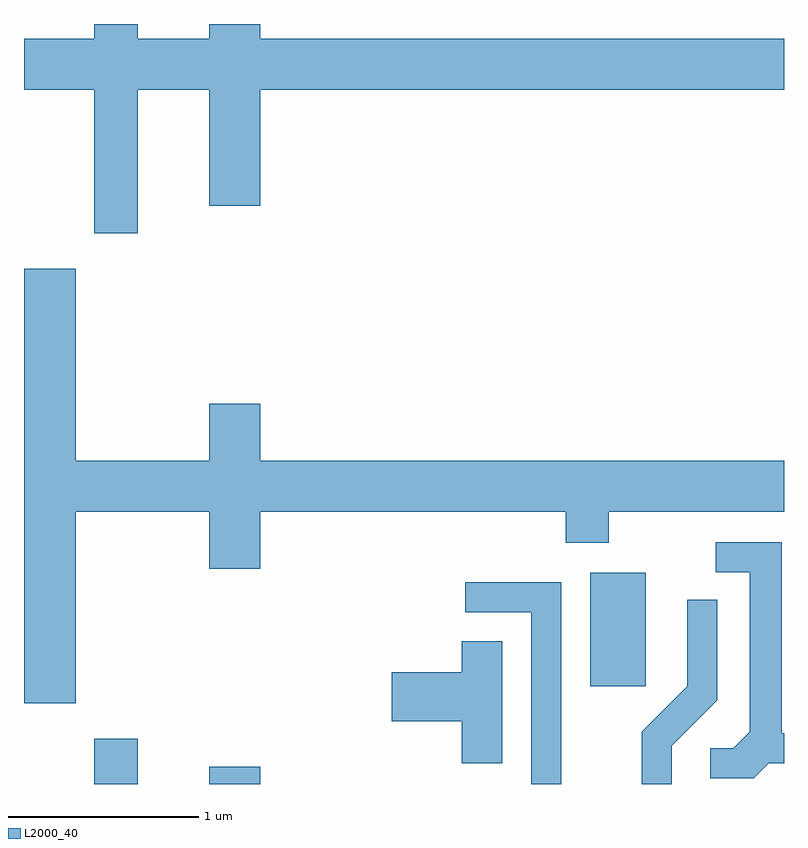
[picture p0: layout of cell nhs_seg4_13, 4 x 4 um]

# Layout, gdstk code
import gdstk
lib = gdstk.Library(unit=1e-6, precision=1e-09)
def R(c, l, rs):  # rectangles x0, y0, x1, y1
    for r in rs: c.add(gdstk.rectangle(r[:2], r[2:], *l))
def P(c, l, *ps):  # polygons
    for p in ps: c.add(gdstk.Polygon(p, *l))
L2000_40 = (2000, 40)

nhs_seg4_13 = lib.new_cell('nhs_seg4_13')
R(nhs_seg4_13, L2000_40, [(185.981,1279.982,186.209,1280.219), (186.586,1279.982,186.854,1280.074), (188.591,1280.496,188.884,1281.094)])
P(nhs_seg4_13, L2000_40, [(186.209,1283.636),(186.586,1283.636),(186.586,1283.026),(186.854,1283.026),(186.854,1283.636),(189.611,1283.636),(189.611,1283.904),(186.854,1283.904),(186.854,1283.982),(186.586,1283.982),(186.586,1283.904),(186.209,1283.904),(186.209,1283.982),(185.981,1283.982),(185.981,1283.904),(185.611,1283.904),(185.611,1283.636),(185.981,1283.636),(185.981,1282.881),(186.209,1282.881)],
  [(185.884,1281.416),(186.586,1281.416),(186.586,1281.116),(186.854,1281.116),(186.854,1281.416),(188.461,1281.416),(188.461,1281.251),(188.689,1281.251),(188.689,1281.416),(189.611,1281.416),(189.611,1281.684),(186.854,1281.684),(186.854,1281.984),(186.586,1281.984),(186.586,1281.684),(185.884,1281.684),(185.884,1282.694),(185.611,1282.694),(185.611,1280.406),(185.884,1280.406)],
  [(189.532,1280.091),(189.611,1280.091),(189.611,1280.249),(189.599,1280.249),(189.599,1281.254),(189.253,1281.254),(189.253,1281.096),(189.431,1281.096),(189.431,1280.257),(189.344,1280.169),(189.223,1280.169),(189.223,1280.011),(189.452,1280.011)],
  [(188.439,1281.044),(187.933,1281.044),(187.933,1280.886),(188.281,1280.886),(188.281,1279.982),(188.439,1279.982)],
  [(189.019,1280.184),(189.259,1280.424),(189.259,1280.953),(189.101,1280.953),(189.101,1280.497),(188.861,1280.257),(188.861,1279.982),(189.019,1279.982)],
  [(188.129,1280.734),(187.916,1280.734),(187.916,1280.569),(187.546,1280.569),(187.546,1280.311),(187.916,1280.311),(187.916,1280.091),(188.129,1280.091)])

lib.write_gds('nhs_seg4_13.gds')
